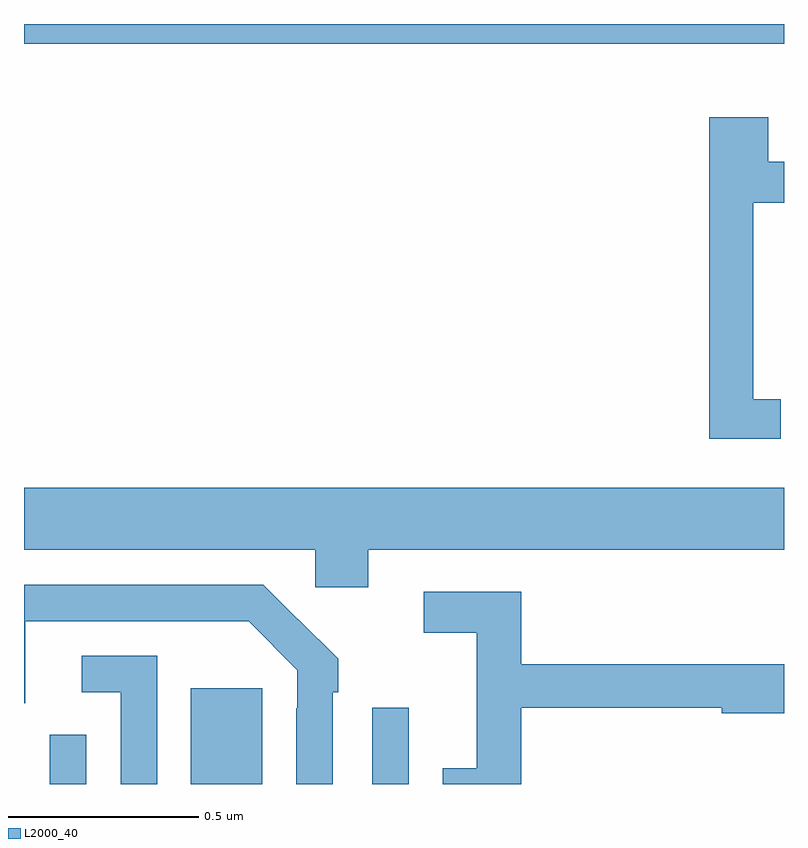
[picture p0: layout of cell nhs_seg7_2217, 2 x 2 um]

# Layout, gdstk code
import gdstk
lib = gdstk.Library(unit=1e-6, precision=1e-09)
def R(c, l, rs):  # rectangles x0, y0, x1, y1
    for r in rs: c.add(gdstk.rectangle(r[:2], r[2:], *l))
def P(c, l, *ps):  # polygons
    for p in ps: c.add(gdstk.Polygon(p, *l))
L2000_40 = (2000, 40)

nhs_seg7_2217 = lib.new_cell('nhs_seg7_2217')
R(nhs_seg7_2217, L2000_40, [(142.068,1000,142.164,1000.129), (142.439,1000,142.627,1000.252), (142.917,1000,143.013,1000.201), (142,1001.948,144,1002)])
P(nhs_seg7_2217, L2000_40, [(143.992,1001.013),(143.919,1001.013),(143.919,1001.529),(144,1001.529),(144,1001.638),(143.959,1001.638),(143.959,1001.755),(143.803,1001.755),(143.803,1000.908),(143.992,1000.908)],
  [(142.906,1000.616),(144,1000.616),(144,1000.78),(142,1000.78),(142,1000.616),(142.767,1000.616),(142.767,1000.518),(142.906,1000.518)],
  [(142.812,1000.241),(142.827,1000.241),(142.827,1000.329),(142.722,1000.434),(142.721,1000.433),(142.63,1000.524),(142,1000.524),(142,1000.212),(142.003,1000.212),(142.003,1000.428),(142.591,1000.428),(142.719,1000.299),(142.719,1000.199),(142.716,1000.199),(142.716,1000),(142.812,1000)],
  [(143.309,1000.201),(143.836,1000.201),(143.836,1000.186),(144,1000.186),(144,1000.315),(143.309,1000.315),(143.309,1000.506),(143.052,1000.506),(143.052,1000.398),(143.192,1000.398),(143.192,1000.042),(143.102,1000.042),(143.102,1000),(143.309,1000)],
  [(142.35,1000.338),(142.152,1000.338),(142.152,1000.242),(142.254,1000.242),(142.254,1000),(142.35,1000)])

lib.write_gds('nhs_seg7_2217.gds')
